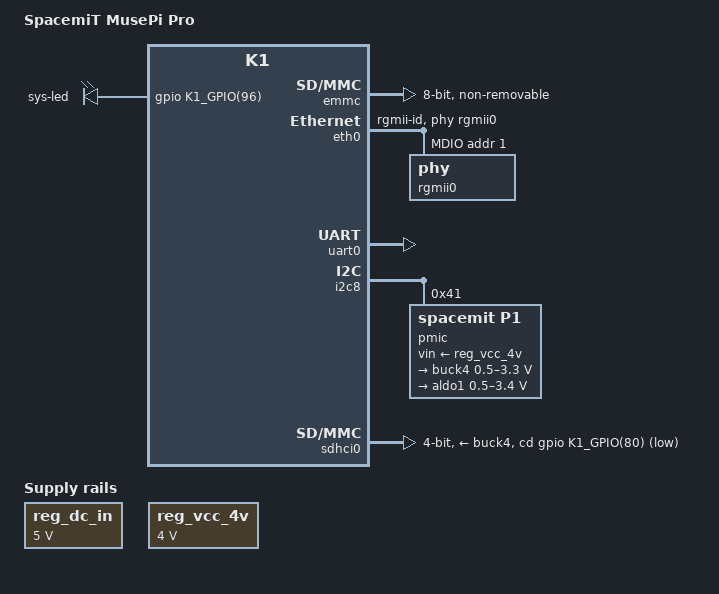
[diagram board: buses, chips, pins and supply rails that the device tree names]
// SPDX-License-Identifier: (GPL-2.0 OR MIT)
/*
 * Copyright (C) 2024 Yangyu Chen <cyy@cyyself.name>
 * Copyright (C) 2025 SpacemiT, Inc
 * Copyright (C) 2025 Troy Mitchell <troy.mitchell@linux.spacemit.com>
 */

/dts-v1/;

#include "k1.dtsi"
#include "k1-pinctrl.dtsi"

/ {
	model = "SpacemiT MusePi Pro";
	compatible = "spacemit,musepi-pro", "spacemit,k1";

	aliases {
		ethernet0 = &eth0;
		serial0 = &uart0;
	};
	reg_dc_in: dc-in-5v {
		compatible = "regulator-fixed";
		regulator-name = "dc_in_5v";
		regulator-min-microvolt = <5000000>;
		regulator-max-microvolt = <5000000>;
		regulator-boot-on;
		regulator-always-on;
	};

	reg_vcc_4v: vcc-4v {
		compatible = "regulator-fixed";
		regulator-name = "vcc_4v";
		regulator-min-microvolt = <4000000>;
		regulator-max-microvolt = <4000000>;
		regulator-boot-on;
		regulator-always-on;
	};


	chosen {
		stdout-path = "serial0";
	};

	leds {
		compatible = "gpio-leds";

		led1 {
			label = "sys-led";
			gpios = <&gpio K1_GPIO(96) GPIO_ACTIVE_HIGH>;
			linux,default-trigger = "heartbeat";
			default-state = "on";
		};
	};
};

&emmc {
	bus-width = <8>;
	mmc-hs400-1_8v;
	mmc-hs400-enhanced-strobe;
	non-removable;
	no-sd;
	no-sdio;
	status = "okay";
};

&eth0 {
	phy-handle = <&rgmii0>;
	phy-mode = "rgmii-id";
	pinctrl-0 = <&gmac0_cfg>;
	pinctrl-names = "default";
	rx-internal-delay-ps = <0>;
	tx-internal-delay-ps = <0>;
	status = "okay";

	mdio-bus {
		#address-cells = <0x1>;
		#size-cells = <0x0>;

		reset-gpios = <&gpio K1_GPIO(110) GPIO_ACTIVE_LOW>;
		reset-delay-us = <10000>;
		reset-post-delay-us = <100000>;

		rgmii0: phy@1 {
			reg = <0x1>;
		};
	};
};

&pdma {
	status = "okay";
};

&uart0 {
	pinctrl-0 = <&uart0_2_cfg>;
	pinctrl-names = "default";
	status = "okay";
};

&i2c8 {
	pinctrl-names = "default";
	pinctrl-0 = <&i2c8_cfg>;
	status = "okay";

	pmic@41 {
		compatible = "spacemit,p1";
		reg = <0x41>;
		interrupts = <64>;
		vin-supply = <&reg_vcc_4v>;

		regulators {
			buck4: buck4 {
				regulator-min-microvolt = <500000>;
				regulator-max-microvolt = <3300000>;
				regulator-ramp-delay = <5000>;
				regulator-always-on;
			};

			aldo1: aldo1 {
				regulator-min-microvolt = <500000>;
				regulator-max-microvolt = <3400000>;
				regulator-boot-on;
				regulator-always-on;
			};
		};
	};
};

&sdhci0 {
	pinctrl-names = "default", "uhs";
	pinctrl-0 = <&mmc1_cfg>;
	pinctrl-1 = <&mmc1_uhs_cfg>;
	bus-width = <4>;
	cd-gpios = <&gpio K1_GPIO(80) GPIO_ACTIVE_HIGH>;
	cd-inverted;
	no-mmc;
	no-sdio;
	disable-wp;
	cap-sd-highspeed;
	vmmc-supply = <&buck4>;
	vqmmc-supply = <&aldo1>;
	sd-uhs-sdr25;
	sd-uhs-sdr50;
	sd-uhs-sdr104;
	status = "okay";
};
